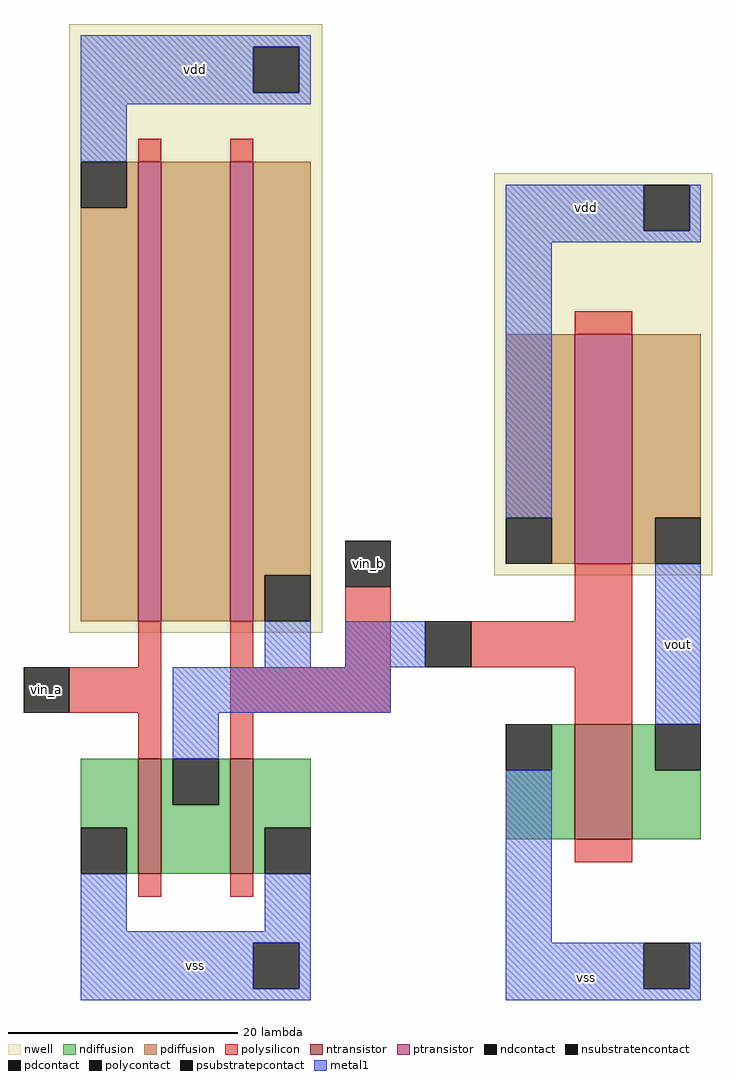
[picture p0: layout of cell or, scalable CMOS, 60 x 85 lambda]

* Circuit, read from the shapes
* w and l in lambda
.subckt or vdd vin_a vin_b vout vss
M1 n1 vin_a vss vss nfet w=10 l=2
M2 vss vin_b n1 vss nfet w=10 l=2
M3 vout n1 vss vss nfet w=10 l=5
M4 n2 vin_a vdd vdd pfet w=40 l=2
M5 n1 vin_b n2 vdd pfet w=40 l=2
M6 vout n1 vdd vdd pfet w=20 l=5
.ends

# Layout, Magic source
magic
tech scmos
<< nwell >>
rect -21 17 1 70
rect 16 22 35 57
<< polysilicon >>
rect -15 58 -13 60
rect -7 58 -5 60
rect 23 43 28 45
rect -15 14 -13 18
rect -21 10 -13 14
rect -15 6 -13 10
rect -7 14 -5 18
rect 3 14 7 21
rect 23 18 28 23
rect 14 14 28 18
rect -7 10 7 14
rect -7 6 -5 10
rect 23 9 28 14
rect 23 -3 28 -1
rect -15 -6 -13 -4
rect -7 -6 -5 -4
<< ndiffusion >>
rect -20 0 -15 6
rect -16 -4 -15 0
rect -13 2 -12 6
rect -8 2 -7 6
rect -13 -4 -7 2
rect -5 0 0 6
rect -5 -4 -4 0
rect 21 5 23 9
rect 17 -1 23 5
rect 28 5 30 9
rect 28 -1 34 5
<< pdiffusion >>
rect -16 54 -15 58
rect -20 18 -15 54
rect -13 18 -7 58
rect -5 22 0 58
rect 17 27 23 43
rect -5 18 -4 22
rect 21 23 23 27
rect 28 27 34 43
rect 28 23 30 27
<< metal1 >>
rect -20 68 0 69
rect -20 64 -5 68
rect -1 64 0 68
rect -20 63 0 64
rect -20 58 -16 63
rect 17 52 29 56
rect 33 52 34 56
rect 17 51 34 52
rect 17 27 21 51
rect -4 14 0 18
rect 3 14 10 18
rect -12 10 7 14
rect -12 6 -8 10
rect 30 9 34 23
rect -20 -9 -16 -4
rect -4 -9 0 -4
rect -20 -10 0 -9
rect -20 -14 -5 -10
rect -1 -14 0 -10
rect -20 -15 0 -14
rect 17 -10 21 5
rect 17 -14 29 -10
rect 33 -14 34 -10
rect 17 -15 34 -14
<< ntransistor >>
rect -15 -4 -13 6
rect -7 -4 -5 6
rect 23 -1 28 9
<< ptransistor >>
rect -15 18 -13 58
rect -7 18 -5 58
rect 23 23 28 43
<< polycontact >>
rect 3 21 7 25
rect -25 10 -21 14
rect 10 14 14 18
<< ndcontact >>
rect -20 -4 -16 0
rect -12 2 -8 6
rect -4 -4 0 0
rect 17 5 21 9
rect 30 5 34 9
<< pdcontact >>
rect -20 54 -16 58
rect -4 18 0 22
rect 17 23 21 27
rect 30 23 34 27
<< psubstratepcontact >>
rect -5 -14 -1 -10
rect 29 -14 33 -10
<< nsubstratencontact >>
rect -5 64 -1 68
rect 29 52 33 56
<< labels >>
rlabel metal1 -12 -14 -8 -10 5 vss
rlabel polycontact -25 10 -21 14 7 vin_a
rlabel metal1 -12 64 -8 68 1 vdd
rlabel metal1 30 14 34 18 3 vout
rlabel metal1 22 52 26 56 1 vdd
rlabel metal1 22 -15 26 -11 5 vss
rlabel polycontact 3 21 7 25 3 vin_b
<< end >>
